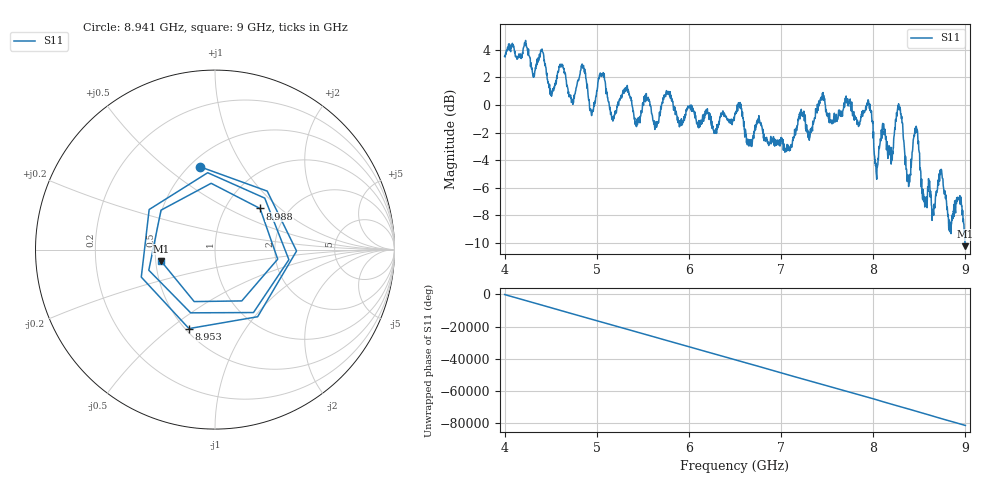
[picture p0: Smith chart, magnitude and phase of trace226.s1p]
! Created with skrf 1.8.0 (http://scikit-rf.org).
# Hz S RI R 50.0
!freq ReS11 ImS11
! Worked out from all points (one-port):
!   1601 points, 4 GHz to 9 GHz, reference 50 ohm
!   lowest |S11| = -10.2 dB at 9 GHz (marker M1), VSWR 1.89, Z = 26.7 - j3.7 ohm
!   |S11| at or under -10 dB: 8.995772 GHz to end of sweep
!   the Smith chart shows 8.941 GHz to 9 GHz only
!   S11 on the Smith chart (normalised r, x): 8.941 GHz: 0.56, +0.67; 8.953 GHz: 0.52, -0.59; 8.988 GHz: 1.44, +0.75; 9 GHz: 0.53, -0.07
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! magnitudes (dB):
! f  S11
! 4 GHz  3.5
! 4.403 GHz  4.0
! 4.516 GHz  0.9
! 4.625 GHz  2.9
! 4.725 GHz  0.2
! 4.847 GHz  2.8
! 4.941 GHz  -0.6
! 5.053 GHz  2.1
! 5.162 GHz  -1.0
! 5.25 GHz  0.3
! 5.875 GHz  -1.1
! 6.5 GHz  -0.6
! 7.125 GHz  -2.5
! 7.447 GHz  0.8
! 7.75 GHz  0.4
! 7.956 GHz  0.0
! 8.034 GHz  -5.0
! 8.194 GHz  -4.3
! 8.284 GHz  -0.2
! 8.375 GHz  -5.5
! 8.459 GHz  -2.0
! 8.559 GHz  -7.4
! 8.731 GHz  -4.8
! 8.831 GHz  -9.2
! 8.941 GHz  -6.6
! 8.953 GHz  -6.7
! 8.988 GHz  -9.4
! 9 GHz  -10.2
